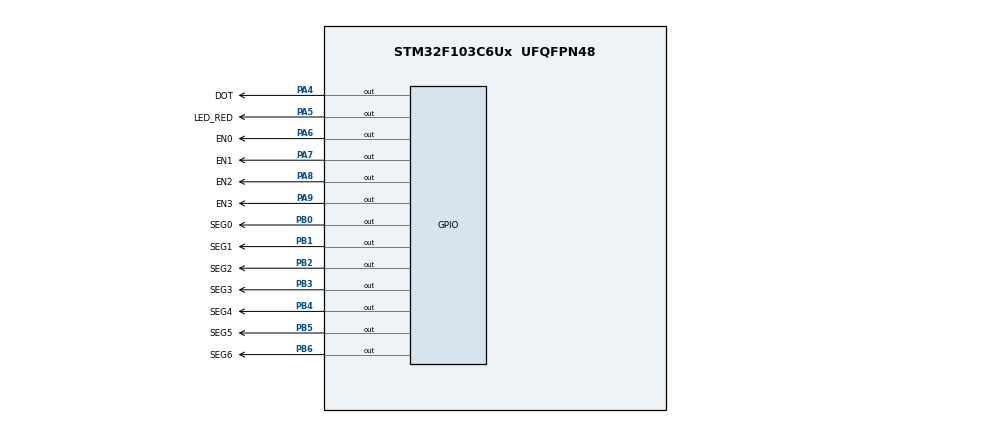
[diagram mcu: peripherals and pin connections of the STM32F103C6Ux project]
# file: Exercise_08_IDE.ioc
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Mcu.Family=STM32F1
Mcu.Name=STM32F103C6Ux
Mcu.Package=UFQFPN48
NVIC.PriorityGroup=NVIC_PRIORITYGROUP_4
NVIC.TIM2_IRQn=true\:0\:0\:false\:false\:true\:true\:true\:true
PA13.Mode=Serial_Wire
PA13.Signal=SYS_JTMS-SWDIO
PA14.Mode=Serial_Wire
PA14.Signal=SYS_JTCK-SWCLK
PA4.GPIO_Label=DOT
PA4.PinState=GPIO_PIN_SET
PA4.Signal=GPIO_Output
PA5.GPIO_Label=LED_RED
PA5.PinState=GPIO_PIN_SET
PA5.Signal=GPIO_Output
PA6.GPIO_Label=EN0
PA6.PinState=GPIO_PIN_SET
PA6.Signal=GPIO_Output
PA7.GPIO_Label=EN1
PA7.PinState=GPIO_PIN_SET
PA7.Signal=GPIO_Output
PA8.GPIO_Label=EN2
PA8.PinState=GPIO_PIN_SET
PA8.Signal=GPIO_Output
PA9.GPIO_Label=EN3
PA9.PinState=GPIO_PIN_SET
PA9.Signal=GPIO_Output
PB0.GPIO_Label=SEG0
PB0.PinState=GPIO_PIN_SET
PB0.Signal=GPIO_Output
PB1.GPIO_Label=SEG1
PB1.PinState=GPIO_PIN_SET
PB1.Signal=GPIO_Output
PB2.GPIO_Label=SEG2
PB2.PinState=GPIO_PIN_SET
PB2.Signal=GPIO_Output
PB3.GPIO_Label=SEG3
PB3.PinState=GPIO_PIN_SET
PB3.Signal=GPIO_Output
PB4.GPIO_Label=SEG4
PB4.PinState=GPIO_PIN_SET
PB4.Signal=GPIO_Output
PB5.GPIO_Label=SEG5
PB5.PinState=GPIO_PIN_SET
PB5.Signal=GPIO_Output
PB6.GPIO_Label=SEG6
PB6.PinState=GPIO_PIN_SET
PB6.Signal=GPIO_Output
ProjectManager.HeapSize=0x200
ProjectManager.StackSize=0x400
ProjectManager.TargetToolchain=STM32CubeIDE
RCC.APB1Freq_Value=8000000
RCC.APB2Freq_Value=8000000
TIM2.Period=9
TIM2.Prescaler=7999
VP_TIM2_VS_ClockSourceINT.Mode=Internal
board=custom

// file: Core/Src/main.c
/* USER CODE BEGIN Header */
/**
  ******************************************************************************
  * @file           : main.c
  * @brief          : Main program body
  ******************************************************************************
  * @attention
  *
  * Copyright (c) 2026 STMicroelectronics.
  * All rights reserved.
  *
  * This software is licensed under terms that can be found in the LICENSE file
  * in the root directory of this software component.
  * If no LICENSE file comes with this software, it is provided AS-IS.
  *
  ******************************************************************************
  */
/* USER CODE END Header */
#include "main.h"

TIM_HandleTypeDef htim2;

/* USER CODE BEGIN PV */
const int MAX_LED = 4;

int index_led = 0;
int led_buffer[4] = {1, 5, 0, 8};

int hour = 15;
int minute = 8;
int second = 50;

volatile int timer0_counter = 0;
volatile int timer0_flag = 0;

volatile int timer1_counter = 0;
volatile int timer1_flag = 0;

const int TIMER_CYCLE = 10;

/* USER CODE END PV */

void SystemClock_Config(void);
static void MX_GPIO_Init(void);
static void MX_TIM2_Init(void);
/* USER CODE BEGIN PFP */
void display7SEG(int num);
void update7SEG(int index);
void updateClockBuffer(void);

void setTimer0(int duration);
void setTimer1(int duration);
void timer_run(void);

/* USER CODE END PFP */

/* USER CODE BEGIN 0 */
void setTimer0(int duration)
{
    timer0_counter = duration / TIMER_CYCLE;
    timer0_flag = 0;
}

void setTimer1(int duration)
{
    timer1_counter = duration / TIMER_CYCLE;
    timer1_flag = 0;
}

void timer_run(void)
{
    if (timer0_counter > 0)
    {
        timer0_counter--;

        if (timer0_counter == 0)
        {
            timer0_flag = 1;
        }
    }

    if (timer1_counter > 0)
    {
        timer1_counter--;

        if (timer1_counter == 0)
        {
            timer1_flag = 1;
        }
    }
}

/* USER CODE END 0 */

int main(void)
{

  /* MCU Configuration--------------------------------------------------------*/

  /* Reset of all peripherals, Initializes the Flash interface and the Systick. */
  HAL_Init();

  /* Configure the system clock */
  SystemClock_Config();

  /* Initialize all configured peripherals */
  MX_GPIO_Init();
  MX_TIM2_Init();
  /* USER CODE BEGIN 2 */
  HAL_GPIO_WritePin(LED_RED_GPIO_Port, LED_RED_Pin, GPIO_PIN_RESET);
  updateClockBuffer();

  update7SEG(index_led);
  index_led = (index_led + 1) % MAX_LED;

  setTimer0(1000);
  setTimer1(250);

  HAL_TIM_Base_Start_IT(&htim2);

  /* USER CODE END 2 */

  /* Infinite loop */
  while (1)
  {

    /* USER CODE BEGIN 3 */
	  if (timer0_flag == 1)
	  {
	      setTimer0(1000);

	      second++;

	      if (second >= 60)
	      {
	          second = 0;
	          minute++;

	          if (minute >= 60)
	          {
	              minute = 0;
	              hour++;

	              if (hour >= 24)
	              {
	                  hour = 0;
	              }
	          }
	      }

	      updateClockBuffer();
	      HAL_GPIO_TogglePin(DOT_GPIO_Port, DOT_Pin);
	  }

	  if (timer1_flag == 1)
	  {
	      setTimer1(250);

	      update7SEG(index_led);
	      index_led++;

	      if (index_led >= MAX_LED)
	      {
	          index_led = 0;
	      }
	  }
  }
  /* USER CODE END 3 */
}

void SystemClock_Config(void)
{
  RCC_OscInitTypeDef RCC_OscInitStruct = {0};
  RCC_ClkInitTypeDef RCC_ClkInitStruct = {0};

  /** Initializes the RCC Oscillators according to the specified parameters
  * in the RCC_OscInitTypeDef structure.
  */
  RCC_OscInitStruct.OscillatorType = RCC_OSCILLATORTYPE_HSI;
  RCC_OscInitStruct.HSIState = RCC_HSI_ON;
  RCC_OscInitStruct.HSICalibrationValue = RCC_HSICALIBRATION_DEFAULT;
  RCC_OscInitStruct.PLL.PLLState = RCC_PLL_NONE;
  if (HAL_RCC_OscConfig(&RCC_OscInitStruct) != HAL_OK)
  {
    Error_Handler();
  }

  /** Initializes the CPU, AHB and APB buses clocks
  */
  RCC_ClkInitStruct.ClockType = RCC_CLOCKTYPE_HCLK|RCC_CLOCKTYPE_SYSCLK
                              |RCC_CLOCKTYPE_PCLK1|RCC_CLOCKTYPE_PCLK2;
  RCC_ClkInitStruct.SYSCLKSource = RCC_SYSCLKSOURCE_HSI;
  RCC_ClkInitStruct.AHBCLKDivider = RCC_SYSCLK_DIV1;
  RCC_ClkInitStruct.APB1CLKDivider = RCC_HCLK_DIV1;
  RCC_ClkInitStruct.APB2CLKDivider = RCC_HCLK_DIV1;

  if (HAL_RCC_ClockConfig(&RCC_ClkInitStruct, FLASH_LATENCY_0) != HAL_OK)
  {
    Error_Handler();
  }
}

static void MX_TIM2_Init(void)
{

  TIM_ClockConfigTypeDef sClockSourceConfig = {0};
  TIM_MasterConfigTypeDef sMasterConfig = {0};

  htim2.Instance = TIM2;
  htim2.Init.Prescaler = 7999;
  htim2.Init.CounterMode = TIM_COUNTERMODE_UP;
  htim2.Init.Period = 9;
  htim2.Init.ClockDivision = TIM_CLOCKDIVISION_DIV1;
  htim2.Init.AutoReloadPreload = TIM_AUTORELOAD_PRELOAD_DISABLE;
  if (HAL_TIM_Base_Init(&htim2) != HAL_OK)
  {
    Error_Handler();
  }
  sClockSourceConfig.ClockSource = TIM_CLOCKSOURCE_INTERNAL;
  if (HAL_TIM_ConfigClockSource(&htim2, &sClockSourceConfig) != HAL_OK)
  {
    Error_Handler();
  }
  sMasterConfig.MasterOutputTrigger = TIM_TRGO_RESET;
  sMasterConfig.MasterSlaveMode = TIM_MASTERSLAVEMODE_DISABLE;
  if (HAL_TIMEx_MasterConfigSynchronization(&htim2, &sMasterConfig) != HAL_OK)
  {
    Error_Handler();
  }

}

static void MX_GPIO_Init(void)
{
  GPIO_InitTypeDef GPIO_InitStruct = {0};

  /* GPIO Ports Clock Enable */
  __HAL_RCC_GPIOA_CLK_ENABLE();
  __HAL_RCC_GPIOB_CLK_ENABLE();

  /*Configure GPIO pin Output Level */
  HAL_GPIO_WritePin(GPIOA, DOT_Pin|LED_RED_Pin|EN0_Pin|EN1_Pin
                          |EN2_Pin|EN3_Pin, GPIO_PIN_SET);

  /*Configure GPIO pin Output Level */
  HAL_GPIO_WritePin(GPIOB, SEG0_Pin|SEG1_Pin|SEG2_Pin|SEG3_Pin
                          |SEG4_Pin|SEG5_Pin|SEG6_Pin, GPIO_PIN_SET);

  /*Configure GPIO pins : DOT_Pin LED_RED_Pin EN0_Pin EN1_Pin
                           EN2_Pin EN3_Pin */
  GPIO_InitStruct.Pin = DOT_Pin|LED_RED_Pin|EN0_Pin|EN1_Pin
                          |EN2_Pin|EN3_Pin;
  GPIO_InitStruct.Mode = GPIO_MODE_OUTPUT_PP;
  GPIO_InitStruct.Pull = GPIO_NOPULL;
  GPIO_InitStruct.Speed = GPIO_SPEED_FREQ_LOW;
  HAL_GPIO_Init(GPIOA, &GPIO_InitStruct);

  /*Configure GPIO pins : SEG0_Pin SEG1_Pin SEG2_Pin SEG3_Pin
                           SEG4_Pin SEG5_Pin SEG6_Pin */
  GPIO_InitStruct.Pin = SEG0_Pin|SEG1_Pin|SEG2_Pin|SEG3_Pin
                          |SEG4_Pin|SEG5_Pin|SEG6_Pin;
  GPIO_InitStruct.Mode = GPIO_MODE_OUTPUT_PP;
  GPIO_InitStruct.Pull = GPIO_NOPULL;
  GPIO_InitStruct.Speed = GPIO_SPEED_FREQ_LOW;
  HAL_GPIO_Init(GPIOB, &GPIO_InitStruct);

}

/* USER CODE BEGIN 4 */
void display7SEG(int num)
{
    HAL_GPIO_WritePin(GPIOB,
                      SEG0_Pin | SEG1_Pin | SEG2_Pin | SEG3_Pin |
                      SEG4_Pin | SEG5_Pin | SEG6_Pin,
                      GPIO_PIN_SET);

    switch (num)
    {
        case 0:
            HAL_GPIO_WritePin(GPIOB,
                              SEG0_Pin | SEG1_Pin | SEG2_Pin |
                              SEG3_Pin | SEG4_Pin | SEG5_Pin,
                              GPIO_PIN_RESET);
            break;

        case 1:
            HAL_GPIO_WritePin(GPIOB,
                              SEG1_Pin | SEG2_Pin,
                              GPIO_PIN_RESET);
            break;

        case 2:
            HAL_GPIO_WritePin(GPIOB,
                              SEG0_Pin | SEG1_Pin | SEG3_Pin |
                              SEG4_Pin | SEG6_Pin,
                              GPIO_PIN_RESET);
            break;

        case 3:
            HAL_GPIO_WritePin(GPIOB,
                              SEG0_Pin | SEG1_Pin | SEG2_Pin |
                              SEG3_Pin | SEG6_Pin,
                              GPIO_PIN_RESET);
            break;

        case 4:
            HAL_GPIO_WritePin(GPIOB,
                              SEG1_Pin | SEG2_Pin | SEG5_Pin |
                              SEG6_Pin,
                              GPIO_PIN_RESET);
            break;

        case 5:
            HAL_GPIO_WritePin(GPIOB,
                              SEG0_Pin | SEG2_Pin | SEG3_Pin |
                              SEG5_Pin | SEG6_Pin,
                              GPIO_PIN_RESET);
            break;

        case 6:
            HAL_GPIO_WritePin(GPIOB,
                              SEG0_Pin | SEG2_Pin | SEG3_Pin |
                              SEG4_Pin | SEG5_Pin | SEG6_Pin,
                              GPIO_PIN_RESET);
            break;

        case 7:
            HAL_GPIO_WritePin(GPIOB,
                              SEG0_Pin | SEG1_Pin | SEG2_Pin,
                              GPIO_PIN_RESET);
            break;

        case 8:
            HAL_GPIO_WritePin(GPIOB,
                              SEG0_Pin | SEG1_Pin | SEG2_Pin |
                              SEG3_Pin | SEG4_Pin | SEG5_Pin |
                              SEG6_Pin,
                              GPIO_PIN_RESET);
            break;

        case 9:
            HAL_GPIO_WritePin(GPIOB,
                              SEG0_Pin | SEG1_Pin | SEG2_Pin |
                              SEG3_Pin | SEG5_Pin | SEG6_Pin,
                              GPIO_PIN_RESET);
            break;

        default:
            break;
    }
}

void updateClockBuffer(void)
{
    led_buffer[0] = hour / 10;
    led_buffer[1] = hour % 10;
    led_buffer[2] = minute / 10;
    led_buffer[3] = minute % 10;
}

void update7SEG(int index)
{
    HAL_GPIO_WritePin(GPIOA,
        EN0_Pin | EN1_Pin | EN2_Pin | EN3_Pin,
        GPIO_PIN_SET);

    if (index < 0 || index >= MAX_LED)
        return;

    display7SEG(led_buffer[index]);

    switch (index)
    {
        case 0:
            HAL_GPIO_WritePin(EN0_GPIO_Port, EN0_Pin, GPIO_PIN_RESET);
            break;
        case 1:
            HAL_GPIO_WritePin(EN1_GPIO_Port, EN1_Pin, GPIO_PIN_RESET);
            break;
        case 2:
            HAL_GPIO_WritePin(EN2_GPIO_Port, EN2_Pin, GPIO_PIN_RESET);
            break;
        case 3:
            HAL_GPIO_WritePin(EN3_GPIO_Port, EN3_Pin, GPIO_PIN_RESET);
            break;
    }
}

void HAL_TIM_PeriodElapsedCallback(TIM_HandleTypeDef *htim)
{
    if (htim->Instance == TIM2)
    {
        timer_run();
    }
}

/* USER CODE END 4 */

void Error_Handler(void)
{
  __disable_irq();
  while (1)
  {
  }
}
